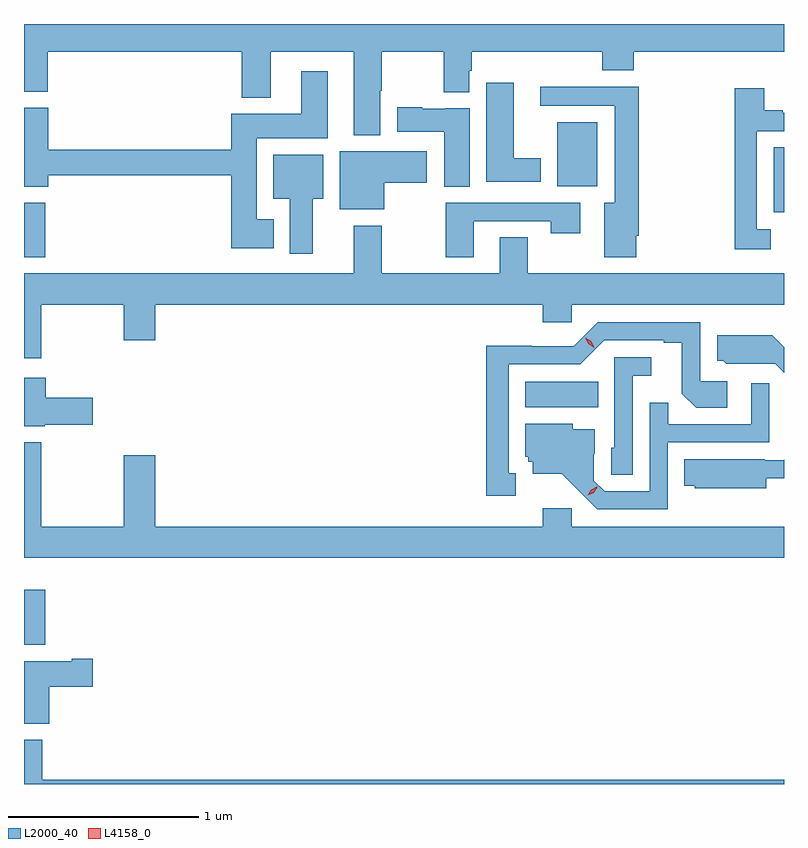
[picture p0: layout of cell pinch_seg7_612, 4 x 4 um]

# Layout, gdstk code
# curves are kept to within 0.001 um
import gdstk
lib = gdstk.Library(unit=1e-6, precision=1e-09)
def R(c, l, rs):  # rectangles x0, y0, x1, y1
    for r in rs: c.add(gdstk.rectangle(r[:2], r[2:], *l))
def P(c, l, *ps):  # polygons
    for p in ps: c.add(gdstk.Polygon(p, *l))
L2000_40 = (2000, 40)
L4158_0 = (4158, 0)

pinch_seg7_612 = lib.new_cell('pinch_seg7_612')
R(pinch_seg7_612, L2000_40, [(140.506,1020.137,140.618,1020.427), (143.144,1021.388,143.528,1021.522), (140.506,1022.178,140.618,1022.463), (144.452,1022.413,144.506,1022.756), (143.312,1022.552,143.524,1022.887)])
P(pinch_seg7_612, L2000_40, [(142.381,1023.055),(142.389,1023.055),(142.389,1023.26),(142.714,1023.26),(142.714,1023.047),(142.849,1023.047),(142.849,1023.159),(142.862,1023.159),(142.862,1023.26),(143.549,1023.26),(143.549,1023.161),(143.714,1023.161),(143.714,1023.26),(144.506,1023.26),(144.506,1023.405),(140.506,1023.405),(140.506,1023.049),(140.63,1023.049),(140.63,1023.26),(141.653,1023.26),(141.653,1023.017),(141.805,1023.017),(141.805,1023.26),(142.241,1023.26),(142.241,1022.819),(142.381,1022.819)],
  [(141.82,1022.377),(141.73,1022.377),(141.73,1022.804),(142.105,1022.804),(142.105,1023.157),(141.965,1023.157),(141.965,1022.932),(141.596,1022.932),(141.596,1022.744),(140.633,1022.744),(140.633,1022.964),(140.506,1022.964),(140.506,1022.548),(140.633,1022.548),(140.633,1022.608),(141.596,1022.608),(141.596,1022.225),(141.82,1022.225)],
  [(143.227,1022.698),(143.083,1022.698),(143.083,1023.097),(142.94,1023.097),(142.94,1022.576),(143.227,1022.576)],
  [(143.728,1022.29),(143.741,1022.29),(143.741,1023.074),(143.223,1023.074),(143.223,1022.976),(143.615,1022.976),(143.615,1022.464),(143.561,1022.464),(143.561,1022.178),(143.728,1022.178)],
  [(144.436,1022.325),(144.363,1022.325),(144.363,1022.841),(144.506,1022.841),(144.506,1022.937),(144.499,1022.937),(144.499,1022.95),(144.403,1022.95),(144.403,1023.067),(144.247,1023.067),(144.247,1022.22),(144.436,1022.22)],
  [(142.852,1022.962),(142.722,1022.962),(142.722,1022.959),(142.602,1022.959),(142.602,1022.967),(142.47,1022.967),(142.47,1022.837),(142.718,1022.837),(142.718,1022.548),(142.852,1022.548)],
  [(142.402,1022.569),(142.627,1022.569),(142.627,1022.734),(142.169,1022.734),(142.169,1022.429),(142.402,1022.429)],
  [(142.027,1022.486),(142.081,1022.486),(142.081,1022.716),(141.818,1022.716),(141.818,1022.486),(141.905,1022.486),(141.905,1022.196),(142.027,1022.196)],
  [(142.873,1022.367),(143.278,1022.367),(143.278,1022.304),(143.434,1022.304),(143.434,1022.463),(142.726,1022.463),(142.726,1022.178),(142.873,1022.178)],
  [(140.597,1021.928),(141.032,1021.928),(141.032,1021.74),(141.196,1021.74),(141.196,1021.928),(143.237,1021.928),(143.237,1021.835),(143.388,1021.835),(143.388,1021.928),(144.506,1021.928),(144.506,1022.092),(143.157,1022.092),(143.157,1022.282),(143.009,1022.282),(143.009,1022.092),(142.389,1022.092),(142.389,1022.344),(142.241,1022.344),(142.241,1022.092),(140.506,1022.092),(140.506,1021.647),(140.597,1021.647)],
  [(143.095,1021.041),(143.056,1021.041),(143.056,1021.614),(143.433,1021.614),(143.559,1021.74),(143.873,1021.74),(143.873,1021.728),(143.967,1021.728),(143.967,1021.46),(144.043,1021.384),(144.208,1021.384),(144.208,1021.524),(144.066,1021.524),(144.066,1021.836),(143.526,1021.836),(143.4,1021.71),(143.178,1021.71),(143.178,1021.712),(142.938,1021.712),(142.938,1020.921),(143.095,1020.921)],
  [(144.506,1021.704),(144.443,1021.768),(144.155,1021.768),(144.155,1021.632),(144.186,1021.632),(144.202,1021.616),(144.336,1021.616),(144.336,1021.617),(144.459,1021.617),(144.506,1021.57)],
  [(143.709,1021.553),(143.806,1021.553),(143.806,1021.65),(143.613,1021.65),(143.613,1021.176),(143.598,1021.176),(143.598,1021.033),(143.709,1021.033)],
  [(140.616,1021.295),(140.869,1021.295),(140.869,1021.437),(140.62,1021.437),(140.62,1021.543),(140.506,1021.543),(140.506,1021.289),(140.616,1021.289)],
  [(143.895,1021.203),(144.429,1021.203),(144.429,1021.513),(144.333,1021.513),(144.333,1021.299),(143.897,1021.299),(143.897,1021.412),(143.799,1021.412),(143.799,1020.945),(143.562,1020.945),(143.505,1021.002),(143.505,1021.144),(143.509,1021.144),(143.509,1021.273),(143.394,1021.273),(143.394,1021.3),(143.144,1021.3),(143.144,1021.128),(143.16,1021.128),(143.16,1021.101),(143.183,1021.101),(143.183,1021.037),(143.335,1021.037),(143.522,1020.852),(143.895,1020.852)],
  [(144.506,1020.76),(143.388,1020.76),(143.388,1020.856),(143.237,1020.856),(143.237,1020.76),(141.196,1020.76),(141.196,1021.135),(141.032,1021.135),(141.032,1020.76),(140.597,1020.76),(140.597,1021.204),(140.506,1021.204),(140.506,1020.596),(144.506,1020.596)],
  [(144.412,1021.013),(144.506,1021.013),(144.506,1021.112),(144.504,1021.11),(144.404,1021.11),(144.404,1021.114),(143.98,1021.114),(143.98,1020.974),(144.036,1020.974),(144.036,1020.962),(144.412,1020.962)],
  [(140.639,1019.918),(140.869,1019.918),(140.869,1020.065),(140.756,1020.065),(140.756,1020.052),(140.506,1020.052),(140.506,1019.723),(140.639,1019.723)],
  [(144.506,1019.428),(140.603,1019.428),(140.603,1019.638),(140.506,1019.638),(140.506,1019.405),(144.506,1019.405)])
P(pinch_seg7_612, L4158_0, [(143.473,1020.924),(143.473,1020.925),(143.491,1020.954),(143.521,1020.969),(143.522,1020.969),(143.522,1020.968),(143.504,1020.939),(143.473,1020.924)],
  [(143.508,1021.702),(143.476,1021.721),(143.459,1021.754),(143.459,1021.754),(143.459,1021.754),(143.491,1021.735),(143.508,1021.703),(143.508,1021.702)])

lib.write_gds('pinch_seg7_612.gds')
